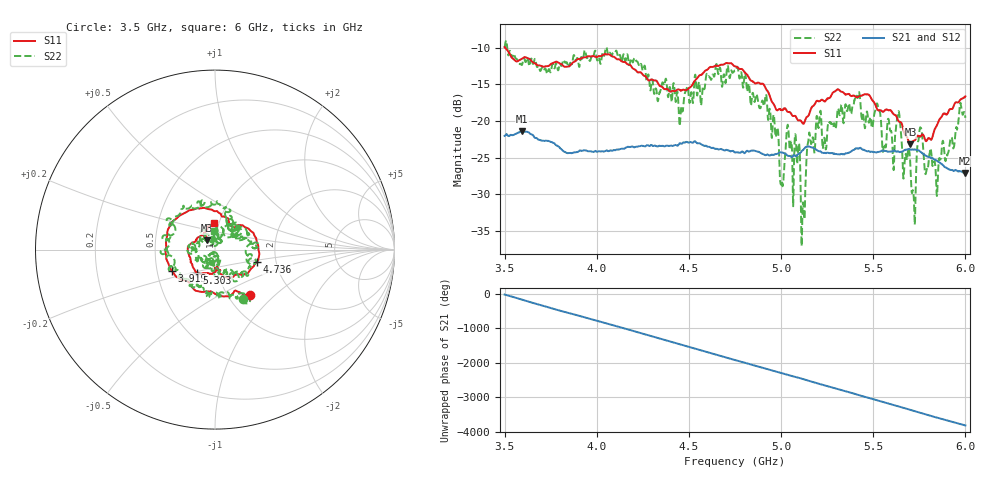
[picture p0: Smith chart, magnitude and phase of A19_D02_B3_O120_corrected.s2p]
! Created with skrf 1.9.0 (http://scikit-rf.org).
# Hz S RI R 50.0
!freq ReS11 ImS11 ReS21 ImS21 ReS12 ImS12 ReS22 ImS22
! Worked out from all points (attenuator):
!   1601 points, 3.5 GHz to 6 GHz, reference 50 ohm
!   highest |S21| = -21.41 dB at 3.592 GHz (marker M1); lowest = -27.1 dB at 5.998 GHz (marker M2)
!   lowest |S11| = -23.2 dB at 5.702 GHz (marker M3), VSWR 1.15, Z = 45.4 + j4.76 ohm
!   |S11| at or under -10 dB: 3.502 GHz to end of sweep
!   |S22| runs from -37.0 to -9.0 dB; largest |S21 - S12| = 0.001
!   S11 on the Smith chart (normalised r, x): 3.5 GHz: 1.26, -0.71; 3.919 GHz: 0.60, -0.15; 4.736 GHz: 1.59, -0.22; 5.303 GHz: 0.79, -0.21; 6 GHz: 0.94, +0.28
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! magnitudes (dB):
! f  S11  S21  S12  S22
! 3.5 GHz  -9.9  -22.0  -22.0  -10.0
! 3.592 GHz  -11.6  -21.4  -21.4  -12.4
! 3.917 GHz  -11.5  -24.1  -24.1  -11.3
! 3.919 GHz  -11.4  -24.1  -24.1  -11.4
! 4.334 GHz  -15.0  -23.4  -23.4  -17.0
! 4.736 GHz  -12.3  -24.1  -24.1  -13.4
! 4.75 GHz  -12.6  -24.3  -24.2  -13.1
! 4.927 GHz  -15.9  -24.5  -24.5  -18.8
! 5.003 GHz  -18.5  -24.3  -24.3  -28.6
! 5.033 GHz  -18.7  -24.7  -24.6  -20.9
! 5.088 GHz  -19.8  -24.7  -24.6  -25.8
! 5.119 GHz  -20.3  -24.0  -23.9  -31.1
! 5.167 GHz  -18.1  -23.6  -23.6  -22.8
! 5.303 GHz  -15.7  -24.5  -24.5  -19.5
! 5.584 GHz  -18.5  -24.2  -24.1  -19.8
! 5.638 GHz  -20.0  -24.2  -24.1  -18.7
! 5.702 GHz  -23.2  -23.9  -23.9  -26.2
! 5.719 GHz  -22.7  -23.9  -23.8  -30.0
! 5.753 GHz  -22.1  -24.1  -24.1  -21.1
! 5.842 GHz  -20.7  -25.4  -25.3  -28.8
! 5.998 GHz  -16.7  -27.1  -27.0  -19.3
! 6 GHz  -16.6  -27.1  -27.0  -19.6
